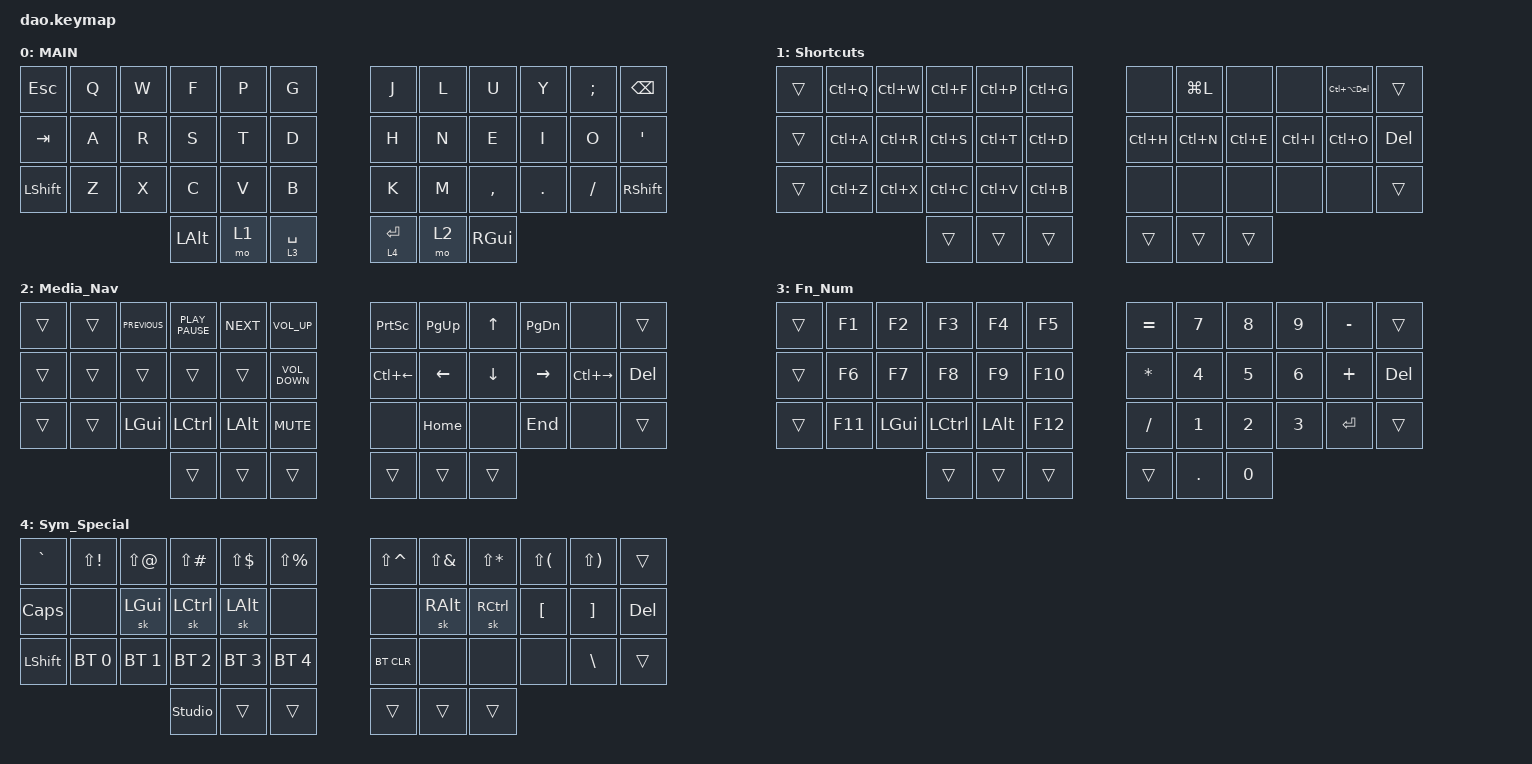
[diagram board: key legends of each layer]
/*
 * Copyright (c) 2021 Rafael Yumagulov
 *
 * SPDX-License-Identifier: MIT
 */

#include <behaviors.dtsi>
#include <dt-bindings/zmk/bt.h>
#include <dt-bindings/zmk/keys.h>

#define DEF 0
#define LWR 1
#define RSE 2
#define ADJ 3

&lt { quick_tap_ms = <200>; };

&mt { quick_tap_ms = <200>; };

/ {
    chosen {
        zmk,physical_layout = &dao_crkbd_layout;

        // zmk,physical_layout = &dao_full_layout;
    };
};

/ {
    keymap {
        compatible = "zmk,keymap";

        default_layer {
            display-name = "MAIN";
            bindings = <
&kp ESCAPE      &kp Q  &kp W  &kp F         &kp P  &kp G        &kp J        &kp L  &kp U          &kp Y    &kp SEMICOLON  &kp BACKSPACE
&kp TAB         &kp A  &kp R  &kp S         &kp T  &kp D        &kp H        &kp N  &kp E          &kp I    &kp O          &kp APOSTROPHE
&kp LEFT_SHIFT  &kp Z  &kp X  &kp C         &kp V  &kp B        &kp K        &kp M  &kp COMMA      &kp DOT  &kp FSLH       &kp RIGHT_SHIFT
                              &kp LEFT_ALT  &mo 1  &lt 3 SPACE  &lt 4 ENTER  &mo 2  &kp RIGHT_GUI
            >;
        };

        Shortcuts {
            bindings = <
&trans  &kp LC(Q)  &kp LC(W)  &kp LC(F)  &kp LC(P)  &kp LC(G)  &none      &kp LG(L)  &none      &none      &kp LC(LA(DEL))  &trans
&trans  &kp LC(A)  &kp LC(R)  &kp LC(S)  &kp LC(T)  &kp LC(D)  &kp LC(H)  &kp LC(N)  &kp LC(E)  &kp LC(I)  &kp LC(O)        &kp DEL
&trans  &kp LC(Z)  &kp LC(X)  &kp LC(C)  &kp LC(V)  &kp LC(B)  &none      &none      &none      &none      &none            &trans
                              &trans     &trans     &trans     &trans     &trans     &trans
            >;
        };

        Media_Nav {
            bindings = <
&trans  &trans  &kp K_PREVIOUS  &kp K_PLAY_PAUSE  &kp K_NEXT    &kp C_VOLUME_UP    &kp PRINTSCREEN  &kp PG_UP  &kp UP_ARROW  &kp PAGE_DOWN  &none          &trans
&trans  &trans  &trans          &trans            &trans        &kp C_VOLUME_DOWN  &kp LC(LEFT)     &kp LEFT   &kp DOWN      &kp RIGHT      &kp LC(RIGHT)  &kp DELETE
&trans  &trans  &kp LGUI        &kp LEFT_CONTROL  &kp LEFT_ALT  &kp K_MUTE         &none            &kp HOME   &none         &kp END        &none          &trans
                                &trans            &trans        &trans             &trans           &trans     &trans
            >;
        };

        Fn_Num {
            bindings = <
&trans  &kp F1   &kp F2    &kp F3     &kp F4    &kp F5   &kp EQUAL  &kp N7   &kp N8  &kp N9  &kp MINUS  &trans
&trans  &kp F6   &kp F7    &kp F8     &kp F9    &kp F10  &kp STAR   &kp N4   &kp N5  &kp N6  &kp PLUS   &kp DEL
&trans  &kp F11  &kp LGUI  &kp LCTRL  &kp LALT  &kp F12  &kp FSLH   &kp N1   &kp N2  &kp N3  &kp RET    &trans
                           &trans     &trans    &trans   &trans     &kp DOT  &kp N0
            >;
        };

        Sym_Special {
            bindings = <
&kp GRAVE       &kp LS(EXCL)  &kp LS(AT)    &kp LS(POUND)     &kp LS(DLLR)  &kp LS(PRCNT)  &kp LS(CARET)  &kp LS(AMPS)   &kp LS(STAR)       &kp LS(LPAR)  &kp LS(RPAR)  &trans
&kp CAPS        &none         &sk LEFT_GUI  &sk LEFT_CONTROL  &sk LEFT_ALT  &none          &none          &sk RIGHT_ALT  &sk RIGHT_CONTROL  &kp LBKT      &kp RBKT      &kp DEL
&kp LEFT_SHIFT  &bt BT_SEL 0  &bt BT_SEL 1  &bt BT_SEL 2      &bt BT_SEL 3  &bt BT_SEL 4   &bt BT_CLR     &none          &none              &none         &kp BSLH      &trans
                                            &studio_unlock    &trans        &trans         &trans         &trans         &trans
            >;
        };
    };
};
